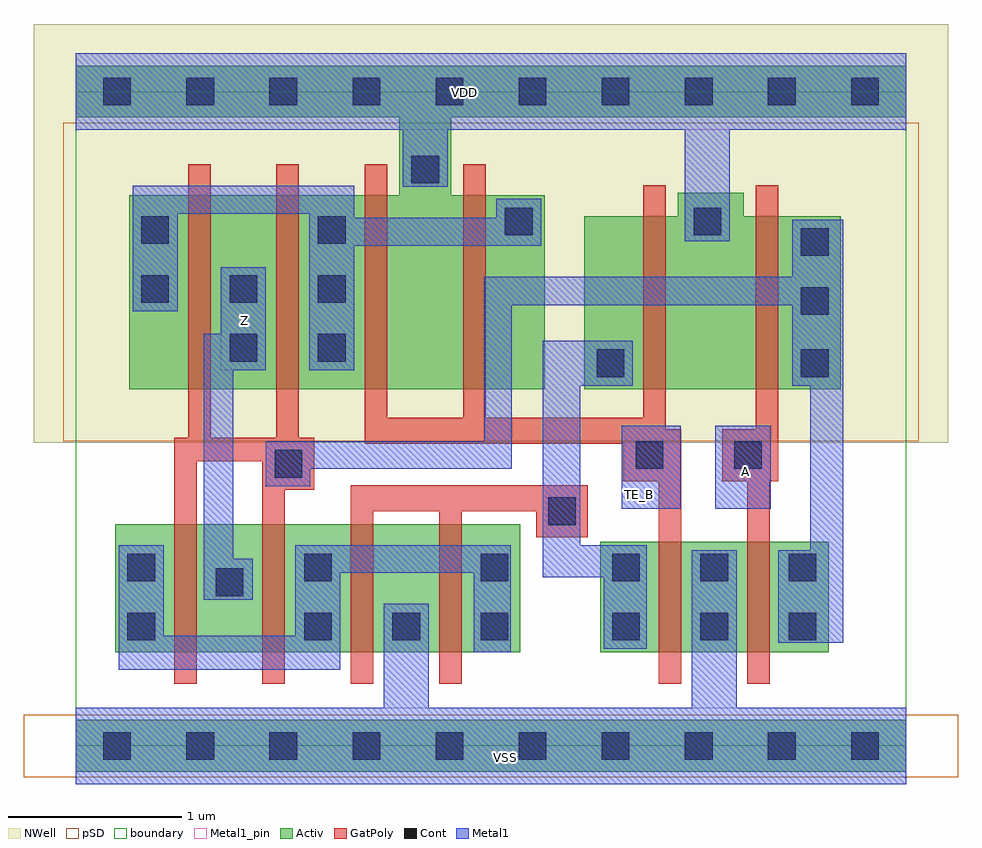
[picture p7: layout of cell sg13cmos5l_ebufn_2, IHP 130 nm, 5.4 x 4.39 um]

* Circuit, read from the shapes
.subckt sg13cmos5l_ebufn_2 A TE_B VDD VSS Z
XM1 Z n1 n2 VSS sg13_lv_nmos w=0.74u l=0.13u m=2
XM2 VSS n3 n2 VSS sg13_lv_nmos w=0.74u l=0.13u m=2
XM3 VSS TE_B n3 VSS sg13_lv_nmos w=0.64u l=0.13u
XM4 n1 A VSS VSS sg13_lv_nmos w=0.64u l=0.13u
XM5 Z n1 n4 VDD sg13_lv_pmos w=1.12u l=0.13u m=2
XM6 VDD TE_B n4 VDD sg13_lv_pmos w=1.12u l=0.13u m=2
XM7 VDD TE_B n3 VDD sg13_lv_pmos w=1u l=0.13u
XM8 n1 A VDD VDD sg13_lv_pmos w=1u l=0.13u
.ends

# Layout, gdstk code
import gdstk
lib = gdstk.Library(unit=1e-6, precision=1e-09)
def R(c, l, rs):  # rectangles x0, y0, x1, y1
    for r in rs: c.add(gdstk.rectangle(r[:2], r[2:], *l))
def A(c, l, x, y, w, h, nx, ny, dx, dy):  # array of equal rectangles
    R(c, l, [(x+i*dx, y+j*dy, x+i*dx+w, y+j*dy+h) for i in range(nx) for j in range(ny)])
def P(c, l, *ps):  # polygons
    for p in ps: c.add(gdstk.Polygon(p, *l))
Activ = (1, 0)
GatPoly = (5, 0)
Cont = (6, 0)
Metal1 = (8, 0)
Metal1_pin = (8, 2)
pSD = (14, 0)
NWell = (31, 0)
boundary = (189, 4)

sg13cmos5l_ebufn_2 = lib.new_cell('sg13cmos5l_ebufn_2')
R(sg13cmos5l_ebufn_2, Activ, [(0,-0.15,4.8,0.15), (0.23,0.54,2.57,1.28), (3.03,0.54,4.35,1.18)])
P(sg13cmos5l_ebufn_2, Activ, [(2.94,2.06),(2.94,3.06),(3.48,3.06),(3.48,3.195),(3.86,3.195),(3.86,3.06),(4.42,3.06),(4.42,2.06)],
  [(0.31,2.06),(0.31,3.18),(1.87,3.18),(1.87,3.63),(0,3.63),(0,3.93),(4.8,3.93),(4.8,3.63),(2.17,3.63),(2.17,3.18),(2.71,3.18),(2.71,2.06)])
P(sg13cmos5l_ebufn_2, GatPoly, [(0.57,0.36),(0.57,1.78),(0.65,1.78),(0.65,3.36),(0.78,3.36),(0.78,1.78),(1.16,1.78),(1.16,3.36),(1.29,3.36),(1.29,1.78),(1.38,1.78),(1.38,1.48),(1.21,1.48),(1.21,0.36),(1.08,0.36),(1.08,1.645),(0.7,1.645),(0.7,0.36)],
  [(1.59,0.36),(1.59,1.505),(2.96,1.505),(2.96,1.205),(2.66,1.205),(2.66,1.355),(2.23,1.355),(2.23,0.36),(2.1,0.36),(2.1,1.355),(1.72,1.355),(1.72,0.36)],
  [(3.37,0.36),(3.37,1.53),(3.165,1.53),(3.165,1.745),(1.67,1.745),(1.67,3.36),(1.8,3.36),(1.8,1.895),(2.24,1.895),(2.24,3.36),(2.37,3.36),(2.37,1.895),(3.28,1.895),(3.28,3.24),(3.41,3.24),(3.41,1.83),(3.5,1.83),(3.5,0.36)],
  [(3.88,0.36),(3.88,1.53),(3.735,1.53),(3.735,1.83),(3.93,1.83),(3.93,3.24),(4.06,3.24),(4.06,1.53),(4.01,1.53),(4.01,0.36)])
A(sg13cmos5l_ebufn_2, Cont, 0.16, -0.08, 0.16, 0.16, 10, 2, 0.48, 3.78)
A(sg13cmos5l_ebufn_2, Cont, 1.32, 0.61, 0.16, 0.16, 3, 1, 0.51, 0)
A(sg13cmos5l_ebufn_2, Cont, 3.1, 0.61, 0.16, 0.16, 3, 2, 0.51, 0.34)
A(sg13cmos5l_ebufn_2, Cont, 0.3, 0.95, 0.16, 0.16, 3, 1, 1.02, 0)
A(sg13cmos5l_ebufn_2, Cont, 0.38, 2.56, 0.16, 0.16, 3, 1, 0.51, 0)
R(sg13cmos5l_ebufn_2, Cont, [(0.3,0.61,0.46,0.77), (0.81,0.865,0.97,1.025), (2.73,1.275,2.89,1.435), (1.15,1.55,1.31,1.71), (3.235,1.6,3.395,1.76), (3.805,1.6,3.965,1.76), (3.01,2.13,3.17,2.29), (4.19,2.13,4.35,2.29), (0.89,2.22,1.05,2.38), (1.4,2.22,1.56,2.38), (4.19,2.49,4.35,2.65), (4.19,2.83,4.35,2.99), (0.38,2.9,0.54,3.06), (1.4,2.9,1.56,3.06), (2.48,2.95,2.64,3.11), (3.57,2.95,3.73,3.11), (1.94,3.25,2.1,3.41)])
R(sg13cmos5l_ebufn_2, Metal1, [(3.155,1.37,3.495,1.85), (3.695,1.37,4.015,1.85)])
P(sg13cmos5l_ebufn_2, Metal1, [(4.06,0.595),(4.06,1.13),(4.245,1.13),(4.245,2.08),(4.14,2.08),(4.14,2.545),(2.52,2.545),(2.52,1.6),(1.355,1.6),(1.355,1.5),(1.1,1.5),(1.1,1.76),(2.36,1.76),(2.36,2.71),(4.14,2.71),(4.14,3.04),(4.435,3.04),(4.435,0.595)],
  [(3.05,0.56),(3.05,0.975),(2.7,0.975),(2.7,2.34),(3.22,2.34),(3.22,2.08),(2.915,2.08),(2.915,1.16),(3.3,1.16),(3.3,0.56)],
  [(3.52,2.915),(3.52,3.56),(2.15,3.56),(2.15,3.23),(1.89,3.23),(1.89,3.56),(0,3.56),(0,4),(4.8,4),(4.8,3.56),(3.78,3.56),(3.78,2.915)],
  [(1.35,2.17),(1.35,3.075),(0.59,3.075),(0.59,2.51),(0.33,2.51),(0.33,3.235),(1.61,3.235),(1.61,3.05),(2.43,3.05),(2.43,3.16),(2.69,3.16),(2.69,2.89),(1.61,2.89),(1.61,2.17)],
  [(0,-0.22),(0,0.22),(1.78,0.22),(1.78,0.82),(2.04,0.82),(2.04,0.22),(3.56,0.22),(3.56,1.13),(3.82,1.13),(3.82,0.22),(4.8,0.22),(4.8,-0.22)],
  [(0.25,0.44),(0.25,1.16),(0.51,1.16),(0.51,0.635),(1.27,0.635),(1.27,1.16),(2.515,1.16),(2.515,0.54),(2.3,0.54),(2.3,1),(1.53,1),(1.53,0.44)],
  [(0.74,0.845),(0.74,2.38),(0.84,2.38),(0.84,2.765),(1.1,2.765),(1.1,2.17),(0.91,2.17),(0.91,1.08),(1.025,1.08),(1.025,0.845)])
R(sg13cmos5l_ebufn_2, Metal1_pin, [(0,-0.22,4.8,0.22), (3.155,1.37,3.495,1.85), (3.695,1.37,4.015,1.85), (0.84,2.17,1.1,2.765), (0,3.56,4.8,4)])
R(sg13cmos5l_ebufn_2, pSD, [(-0.3,-0.18,5.1,0.18), (-0.07,1.76,4.87,3.6)])
R(sg13cmos5l_ebufn_2, NWell, [(-0.24,1.75,5.04,4.17)])
R(sg13cmos5l_ebufn_2, boundary, [(0,0,4.8,3.78)])
sg13cmos5l_ebufn_2.add(gdstk.Label('TE_B', (3.255,1.455), layer=8, texttype=25))
sg13cmos5l_ebufn_2.add(gdstk.Label('VDD', (2.245,3.775), layer=8, texttype=25))
sg13cmos5l_ebufn_2.add(gdstk.Label('VSS', (2.485,-0.065), layer=8, texttype=25))
sg13cmos5l_ebufn_2.add(gdstk.Label('Z', (0.975,2.46), layer=8, texttype=25))
sg13cmos5l_ebufn_2.add(gdstk.Label('A', (3.87,1.585), layer=8, texttype=25))

lib.write_gds('sg13cmos5l_ebufn_2.gds')
